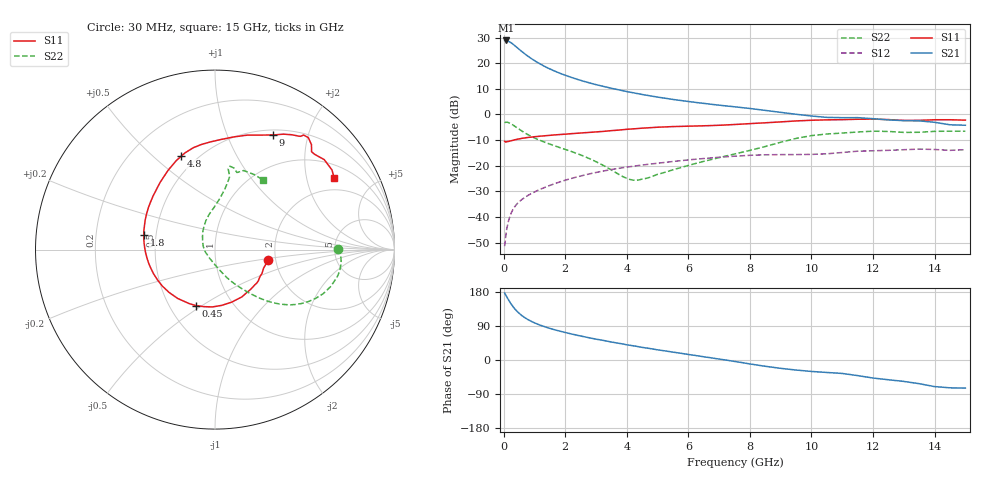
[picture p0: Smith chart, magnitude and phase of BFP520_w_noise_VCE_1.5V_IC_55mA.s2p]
! Infineon Technologies  Discrete & RF Semiconductors
! BFP520
! VCE =  1.5 V,  IC =  55 mA
! Common Emitter S-Parameters:  Oct 2015
# GHz  S  MA  R  50
!  f  S11  S21  S12  S22
! GHz  MAG  ANG  MAG  ANG  MAG  ANG  MAG  ANG
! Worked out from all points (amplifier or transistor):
!   109 points, 30 MHz to 15 GHz, reference 50 ohm
!   highest |S21| = 28.9 dB at 70 MHz (marker M1)
!   |S21| within 3 dB of that: start of sweep to 457.3 MHz
!   unconditionally stable (mu >= 1): start of sweep to 179 MHz; 681 MHz to end of sweep
!   at 450 MHz: K = 0.88, MSG = 30.3 dB, |S12| = -34.7 dB
!   at 4 GHz: K = 1.52, MAG = 10.5 dB, |S12| = -20.5 dB
!   at 15 GHz: K = 1.60, MAG = 0.2 dB, |S12| = -13.7 dB
!   lowest NFmin = 3.45 dB at 450 MHz
!   S11 on the Smith chart (normalised r, x): 30 MHz: 1.82, -0.24; 450 MHz: 0.68, -0.47; 1.8 GHz: 0.43, +0.08; 4.8 GHz: 0.41, +0.62; 9 GHz: 0.56, +1.48; 15 GHz: 1.48, +2.94
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0.03  0.3009 -11.4  27.71 176.9  0.0027 103.2  0.6877 0.4
0.07  0.2912 -23.9  27.74 170.9  0.0043 88.4  0.7045 -4.4
0.15  0.2973 -47.4  26.78 159.5  0.0081 79.2  0.6955 -13.1
0.2  0.3031 -60.5  25.89 153.0  0.0102 74.9  0.6761 -17.8
0.25  0.3072 -72.4  24.76 146.8  0.0122 72.0  0.6514 -22.1
0.35  0.3198 -92.6  22.25 136.0  0.0156 67.4  0.5955 -29.1
0.45  0.3296 -108.7  19.81 127.2  0.0185 64.4  0.5416 -34.4
0.6  0.3424 -127.3  16.68 116.6  0.0222 61.7  0.4713 -40.1
0.7  0.3499 -137.0  14.96 111.0  0.0244 60.7  0.4326 -42.9
0.9  0.3621 -152.2  12.28 101.9  0.0287 59.6  0.3728 -47.0
1.1  0.3724 -163.9  10.32 94.6  0.0329 59.0  0.3277 -50.2
1.3  0.3822 -173.3  8.858 88.7  0.037 58.4  0.293 -52.9
1.8  0.4048 168.6  6.457 76.7  0.0478 56.6  0.2285 -59.2
2.6  0.4392 147.5  4.437 61.6  0.0652 51.7  0.1536 -69.4
3.5  0.4835 129.2  3.236 47.4  0.0844 44.3  0.0827 -91.3
4.8  0.5539 109.8  2.285 29.6  0.1083 33.1  0.0609 175.4
5.1  0.5669 106.2  2.135 25.7  0.1137 30.6  0.0705 160.5
7.6  0.6417 79.1  1.389 -5.0  0.1547 7.7  0.1748 105.6
9  0.7162 63.1  1.098 -22.0  0.1647 -6.4  0.287 84.5
10.5  0.7848 53.7  0.877 -32.9  0.1708 -14.3  0.4157 78.6
13  0.7659 45.4  0.757 -56.5  0.2054 -35.6  0.4467 74.2
15  0.7747 30.9  0.616 -74.2  0.2055 -51.9  0.4712 55.3
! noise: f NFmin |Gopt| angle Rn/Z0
0.45  3.45  0.22  -160  0.3
0.9  3.45  0.24  -152  0.32
1.9  3.61  0.32  -128  0.42
2.4  3.64  0.33  -125  0.4
3.5  3.7  0.31  -111  0.51
